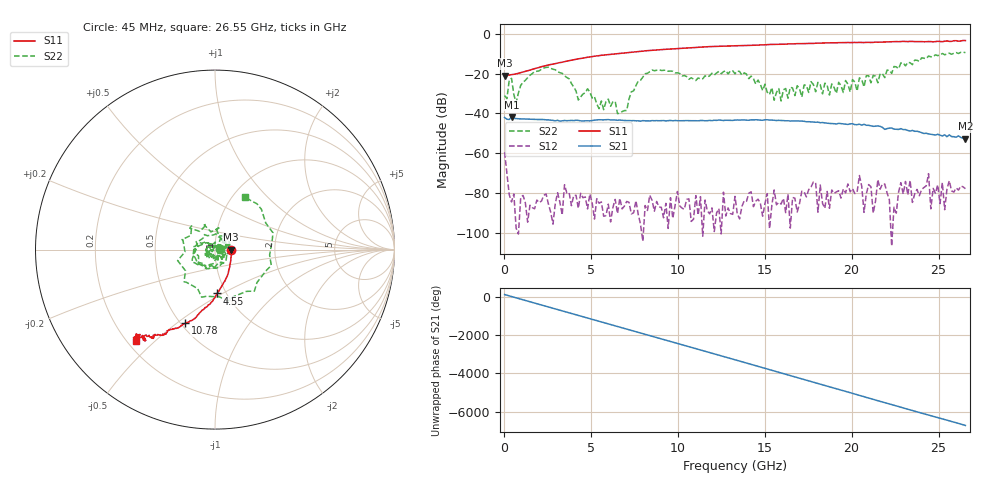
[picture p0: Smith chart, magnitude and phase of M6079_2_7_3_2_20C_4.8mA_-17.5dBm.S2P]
!  2-Port S-parameters saved by WinCal
! VAR MeasName=S-Parameters (CALIBRATED_DATA) read from VNA (C)
! VAR MeasDate=10/5/2015 6:04:44 PM
! VAR NAME=M6079_2_7_3_2_20C_4.8mA_-17.5dBm
! VAR FILENAME=M6079_2_7_3_2_20C_4.8mA_-17.5dBm.S2P
! VAR DATE=10/5/2015 6:04:44 PM
! VAR PHYS_PORTS=2,1
! VAR ObjTypeName=DATASET
! VAR IndexType=Frequency
# Hz S DB R 50
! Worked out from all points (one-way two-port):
!   201 points, 45 MHz to 26.55 GHz, reference 50 ohm
!   highest |S21| = -41.71 dB at 442.5 MHz (marker M1); lowest = -52.7 dB at 26.55 GHz (marker M2)
!   lowest |S11| = -21.0 dB at 45 MHz (marker M3), VSWR 1.20, Z = 59.8 - j0.0989 ohm
!   |S11| at or under -10 dB: start of sweep to 6.573 GHz
!   |S22| runs from -40.1 to -9.2 dB; largest |S21 - S12| = 0.009
!   S11 on the Smith chart (normalised r, x): 45 MHz: 1.20, -0.00; 4.55 GHz: 0.91, -0.47; 10.78 GHz: 0.53, -0.54; 26.55 GHz: 0.23, -0.43
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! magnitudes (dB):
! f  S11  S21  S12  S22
! 45 MHz  -21.0  -42.0  -59.4  -31.0
! 310 MHz  -20.7  -43.0  -80.6  -23.3
! 442.5 MHz  -20.5  -41.7  -84.3  -22.4
! 707.5 MHz  -20.1  -42.5  -97.5  -34.5
! 2.43 GHz  -16.0  -43.2  -80.3  -16.9
! 4.55 GHz  -12.2  -43.8  -82.2  -30.2
! 6.67 GHz  -9.9  -43.3  -82.5  -39.8
! 8.922 GHz  -8.0  -43.6  -86.8  -18.0
! 10.78 GHz  -7.1  -43.6  -94.1  -22.1
! 13.29 GHz  -6.1  -43.3  -81.6  -20.1
! 15.55 GHz  -5.4  -43.4  -78.4  -33.4
! 17.8 GHz  -4.9  -44.3  -74.4  -25.4
! 20.32 GHz  -4.4  -45.6  -79.4  -28.8
! 20.45 GHz  -4.4  -45.3  -71.1  -22.1
! 20.71 GHz  -4.4  -45.4  -89.6  -26.7
! 21.51 GHz  -4.3  -46.2  -73.2  -24.6
! 22.17 GHz  -4.1  -47.4  -83.3  -18.3
! 23.36 GHz  -3.9  -48.8  -73.5  -14.6
! 23.89 GHz  -3.9  -49.2  -81.2  -13.9
! 24.43 GHz  -3.9  -50.2  -70.2  -11.2
! 24.56 GHz  -3.9  -50.4  -87.8  -11.6
! 26.55 GHz  -3.4  -52.7  -77.7  -9.5
